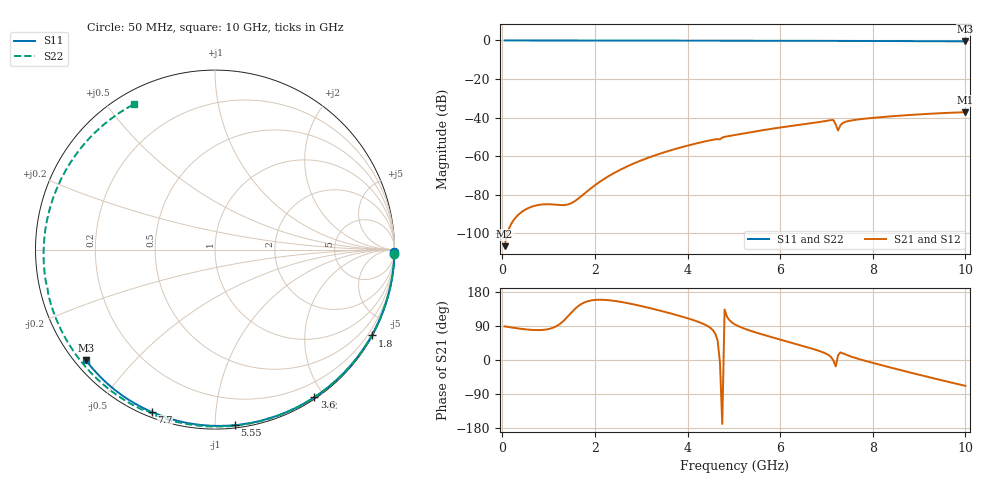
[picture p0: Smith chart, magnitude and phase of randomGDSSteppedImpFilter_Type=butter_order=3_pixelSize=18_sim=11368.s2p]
! freq	dB(S11)	phase(S11)	dB(S12)	phase(S12)
!  dB(S21)	phase(S21)	dB(S22)	phase(S22)
!S-par simulation data
#  GHz  S  DB  R 50
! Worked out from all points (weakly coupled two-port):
!   200 points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, 50 MHz to 10 GHz, reference 50 ohm
!   highest |S21| = -37.16 dB at 10 GHz (marker M1); lowest = -106.6 dB at 50 MHz (marker M2)
!   lowest |S11| = -0.5 dB at 10 GHz (marker M3), VSWR 36.73, Z = 1.55 - j18.4 ohm
!   |S11| at or under -10 dB: nowhere
!   |S22| runs from -0.7 to 0.0 dB; largest |S21 - S12| = 0
!   S11 on the Smith chart (normalised r, x): 50 MHz: open; 1.8 GHz: 0.03, -3.91; 3.6 GHz: 0.02, -1.88; 5.55 GHz: 0.02, -1.12; 7.7 GHz: 0.02, -0.68; 10 GHz: 0.03, -0.37
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0.05  -0.00 -0.8  -106.58 88.8  -106.58 88.8  -0.00 -1.3
0.85  -0.02 -13.7  -84.99 79.2  -84.99 79.2  -0.02 -21.6
1.75  -0.04 -27.9  -79.80 150.5  -79.80 150.5  -0.06 -43.9
1.8  -0.04 -28.7  -78.80 153.1  -78.80 153.1  -0.06 -45.1
2.15  -0.04 -34.1  -72.50 159.0  -72.50 159.0  -0.07 -53.5
2.5  -0.05 -39.5  -67.57 154.5  -67.57 154.5  -0.08 -61.9
3.4  -0.07 -53.1  -58.69 130.5  -58.69 130.5  -0.11 -82.8
3.6  -0.08 -56.0  -57.18 124.1  -57.18 124.1  -0.12 -87.3
4.3  -0.09 -66.1  -52.73 97.5  -52.73 97.5  -0.15 -102.9
4.7  -0.12 -71.9  -51.24 -6.2  -51.24 -6.2  -0.21 -112.0
4.8  -0.11 -73.1  -49.91 133.2  -49.91 133.2  -0.19 -113.7
5.05  -0.12 -76.6  -48.84 92.1  -48.84 92.1  -0.18 -119.3
5.55  -0.14 -83.5  -46.77 69.8  -46.77 69.8  -0.21 -130.1
6.7  -0.19 -98.7  -42.77 29.5  -42.77 29.5  -0.30 -155.4
7.15  -0.23 -104.6  -41.25 -1.3  -41.25 -1.3  -0.35 -165.7
7.25  -0.26 -105.6  -46.65 12.4  -46.65 12.4  -0.37 -167.8
7.3  -0.25 -106.2  -43.96 20.1  -43.96 20.1  -0.36 -169.0
7.35  -0.24 -106.8  -42.82 17.7  -42.82 17.7  -0.36 -170.1
7.7  -0.26 -111.3  -40.88 2.6  -40.88 2.6  -0.39 -178.4
8.35  -0.31 -119.4  -39.39 -18.8  -39.39 -18.8  -0.46 165.6
9.15  -0.38 -129.1  -38.09 -43.4  -38.09 -43.4  -0.56 144.2
10  -0.47 -139.5  -37.16 -68.2  -37.16 -68.2  -0.66 119.1
